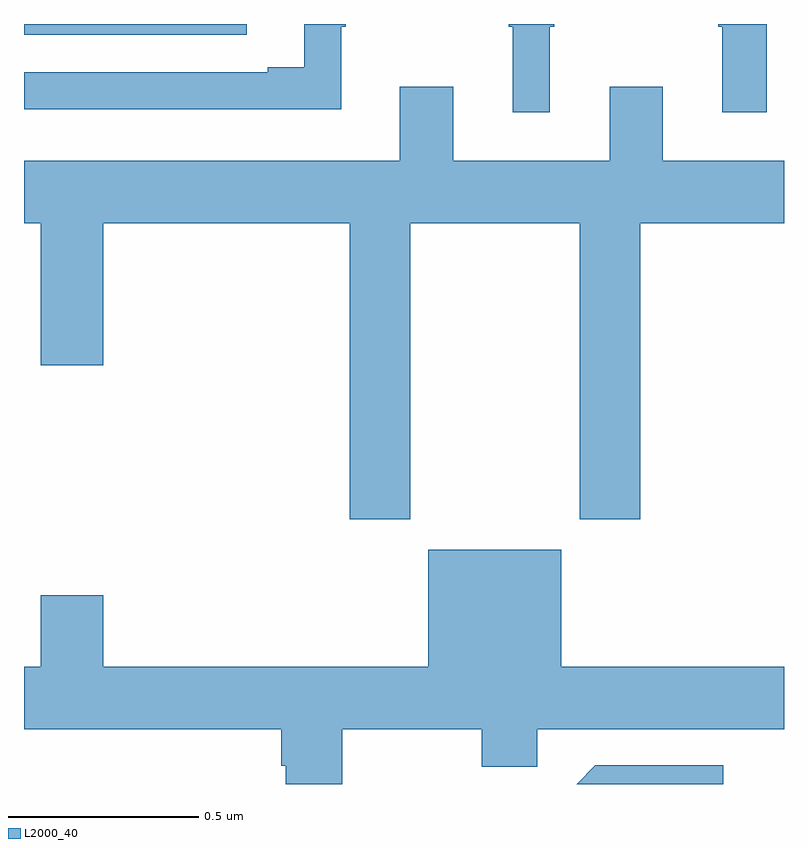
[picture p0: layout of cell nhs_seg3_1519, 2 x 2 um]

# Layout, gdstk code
import gdstk
lib = gdstk.Library(unit=1e-6, precision=1e-09)
def R(c, l, rs):  # rectangles x0, y0, x1, y1
    for r in rs: c.add(gdstk.rectangle(r[:2], r[2:], *l))
def P(c, l, *ps):  # polygons
    for p in ps: c.add(gdstk.Polygon(p, *l))
L2000_40 = (2000, 40)

nhs_seg3_1519 = lib.new_cell('nhs_seg3_1519')
R(nhs_seg3_1519, L2000_40, [(129,741.372,129.586,741.4)])
P(nhs_seg3_1519, L2000_40, [(129.835,741.393),(129.847,741.393),(129.847,741.4),(129.737,741.4),(129.737,741.286),(129.641,741.286),(129.641,741.273),(129,741.273),(129,741.176),(129.835,741.176)],
  [(130.384,741.393),(130.396,741.393),(130.396,741.4),(130.275,741.4),(130.275,741.393),(130.286,741.393),(130.286,741.168),(130.384,741.168)],
  [(130.955,741.4),(130.827,741.4),(130.827,741.393),(130.838,741.393),(130.838,741.168),(130.955,741.168)],
  [(130.017,740.876),(130.462,740.876),(130.462,740.097),(130.622,740.097),(130.622,740.876),(131,740.876),(131,741.04),(130.681,741.04),(130.681,741.235),(130.541,741.235),(130.541,741.04),(130.129,741.04),(130.129,741.235),(129.989,741.235),(129.989,741.04),(129,741.04),(129,740.876),(129.044,740.876),(129.044,740.502),(129.208,740.502),(129.208,740.876),(129.857,740.876),(129.857,740.097),(130.017,740.097)],
  [(129.837,739.544),(130.204,739.544),(130.204,739.445),(130.35,739.445),(130.35,739.544),(131,739.544),(131,739.708),(130.414,739.708),(130.414,740.017),(130.064,740.017),(130.064,739.708),(129.208,739.708),(129.208,739.897),(129.044,739.897),(129.044,739.708),(129,739.708),(129,739.544),(129.677,739.544),(129.677,739.448),(129.689,739.448),(129.689,739.4),(129.837,739.4)],
  [(130.84,739.449),(130.503,739.449),(130.454,739.4),(130.84,739.4)])

lib.write_gds('nhs_seg3_1519.gds')
